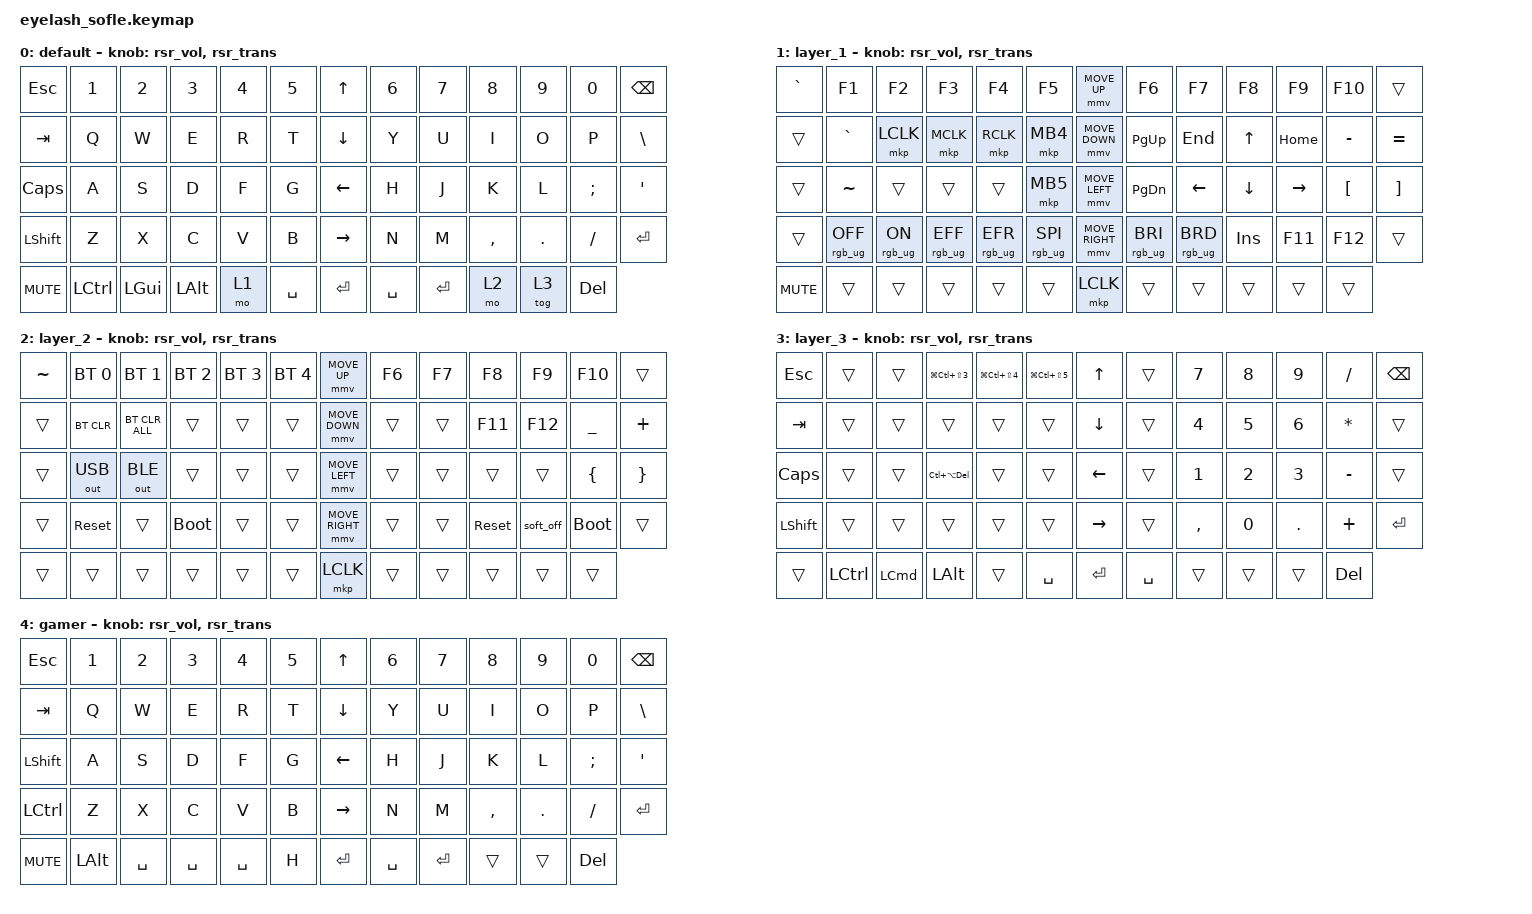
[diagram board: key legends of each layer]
#define ZMK_POINTING_DEFAULT_MOVE_VAL 1200  // 600
#define ZMK_POINTING_DEFAULT_SCRL_VAL 25   // 10

#include <input/processors.dtsi>
#include <zephyr/dt-bindings/input/input-event-codes.h>
#include <behaviors/runtime-sensor-rotate.dtsi>
#include <behaviors.dtsi>
#include <dt-bindings/zmk/bt.h>
#include <dt-bindings/zmk/keys.h>
#include <dt-bindings/zmk/outputs.h>
#include <dt-bindings/zmk/pointing.h>
#include <dt-bindings/zmk/rgb.h>

&mmv_input_listener { input-processors = <&zip_xy_scaler 2 1>; };

&msc_input_listener { input-processors = <&zip_scroll_scaler 2 1>; };

&msc {
    acceleration-exponent = <1>;      // 0
    time-to-max-speed-ms = <100>;       // 300
    delay-ms = <0>;                   // 0
};

&mmv {
    time-to-max-speed-ms = <500>;
    acceleration-exponent = <1>;
    trigger-period-ms = <16>;
};

&soft_off { hold-time-ms = <2000>; };

/ {
    scroll_encoder: scroll_encoder {
        compatible = "zmk,behavior-sensor-rotate";
        #sensor-binding-cells = <0>;
        bindings = <&msc SCRL_DOWN>, <&msc SCRL_UP>;

        tap-ms = <100>;
    };

    behaviors {
        rsr_vol: rsr_vol {
            compatible = "zmk,behavior-runtime-sensor-rotate";
            #sensor-binding-cells = <0>;
            tap-ms = <5>;
            cw-binding = <&kp C_VOL_UP>;
            ccw-binding = <&kp C_VOL_DN>;
        };

        rsr_trans: rsr_trans {
            compatible = "zmk,behavior-runtime-sensor-rotate";
            #sensor-binding-cells = <0>;
            tap-ms = <0>;
        };
    };

    combos {
        compatible = "zmk,combos";

        layer_4 {
            bindings = <&tog 4>;
            key-positions = <62 61>;
        };
    };

    macros {
        SHIFT_MCLK: SHIFT_MCLK {
            compatible = "zmk,behavior-macro";
            #binding-cells = <0>;
            bindings =
                <&macro_press>,
                <&kp LEFT_SHIFT>,
                <&macro_press>,
                <&mkp MB3>,
                <&macro_pause_for_release>,
                <&macro_release>,
                <&kp LEFT_SHIFT &mkp MB3>;

            label = "SHIFT_MCLK";
        };
    };

    keymap {
        compatible = "zmk,keymap";

        layer0 {
            bindings = <
&kp ESC     &kp N1     &kp N2        &kp N3        &kp N4  &kp N5       &kp UP_ARROW     &kp N6     &kp N7     &kp N8     &kp N9   &kp N0      &kp BACKSPACE
&kp TAB     &kp Q      &kp W         &kp E         &kp R   &kp T        &kp DOWN_ARROW   &kp Y      &kp U      &kp I      &kp O    &kp P       &kp BSLH
&kp CAPS    &kp A      &kp S         &kp D         &kp F   &kp G        &kp LEFT_ARROW   &kp H      &kp J      &kp K      &kp L    &kp SEMI    &kp APOS
&kp LSHFT   &kp Z      &kp X         &kp C         &kp V   &kp B        &kp RIGHT_ARROW  &kp N      &kp M      &kp COMMA  &kp DOT  &kp FSLH    &kp ENTER
&kp C_MUTE  &kp LCTRL  &kp LEFT_GUI  &kp LEFT_ALT  &mo 1   &kp SPACE    &kp ENTER        &kp SPACE  &kp ENTER  &mo 2      &tog 3   &kp DELETE
            >;

            sensor-bindings = <&rsr_vol &rsr_trans>;
            display-name = "default";
        };

        layer_1 {
            bindings = <
&kp GRAVE   &kp F1           &kp F2          &kp F3           &kp F4           &kp F5             &mmv MOVE_UP     &kp F6           &kp F7           &kp F8      &kp F9     &kp F10           &trans
&trans      &kp GRAVE        &mkp LCLK       &mkp MCLK        &mkp RCLK        &mkp MB4           &mmv MOVE_DOWN   &kp PG_UP        &kp END          &kp UP      &kp HOME   &kp MINUS         &kp EQUAL
&trans      &kp TILDE        &trans          &trans           &trans           &mkp MB5           &mmv MOVE_LEFT   &kp PG_DN        &kp LEFT         &kp DOWN    &kp RIGHT  &kp LEFT_BRACKET  &kp RIGHT_BRACKET
&trans      &rgb_ug RGB_OFF  &rgb_ug RGB_ON  &rgb_ug RGB_EFF  &rgb_ug RGB_EFR  &rgb_ug RGB_SPI    &mmv MOVE_RIGHT  &rgb_ug RGB_BRI  &rgb_ug RGB_BRD  &kp INSERT  &kp F11    &kp F12           &trans
&kp C_MUTE  &trans           &trans          &trans           &trans           &trans             &mkp LCLK        &trans           &trans           &trans      &trans     &trans
            >;

            sensor-bindings = <&rsr_vol &rsr_trans>;
            display-name = "layer_1";
        };

        layer_2 {
            bindings = <
&kp TILDE  &bt BT_SEL 0  &bt BT_SEL 1    &bt BT_SEL 2  &bt BT_SEL 3  &bt BT_SEL 4    &mmv MOVE_UP     &kp F6  &kp F7  &kp F8      &kp F9     &kp F10      &trans
&trans     &bt BT_CLR    &bt BT_CLR_ALL  &trans        &trans        &trans          &mmv MOVE_DOWN   &trans  &trans  &kp F11     &kp F12    &kp UNDER    &kp PLUS
&trans     &out OUT_USB  &out OUT_BLE    &trans        &trans        &trans          &mmv MOVE_LEFT   &trans  &trans  &trans      &trans     &kp LBRC     &kp RBRC
&trans     &sys_reset    &trans          &bootloader   &trans        &trans          &mmv MOVE_RIGHT  &trans  &trans  &sys_reset  &soft_off  &bootloader  &trans
&trans     &trans        &trans          &trans        &trans        &trans          &mkp LCLK        &trans  &trans  &trans      &trans     &trans
            >;

            display-name = "layer_2";
            sensor-bindings = <&rsr_vol &rsr_trans>;
        };

        layer_3 {
            bindings = <
&kp ESC         &trans            &trans            &kp LG(LC(LS(N3)))  &kp LG(LC(LS(NUMBER_4)))  &kp LG(LC(LS(N5)))    &kp UP_ARROW     &trans     &kp N7     &kp N8  &kp N9   &kp SLASH  &kp BACKSPACE
&kp TAB         &trans            &trans            &trans              &trans                    &trans                &kp DOWN_ARROW   &trans     &kp N4     &kp N5  &kp N6   &kp STAR   &trans
&kp CAPSLOCK    &trans            &trans            &kp LC(LA(DELETE))  &trans                    &trans                &kp LEFT_ARROW   &trans     &kp N1     &kp N2  &kp N3   &kp MINUS  &trans
&kp LEFT_SHIFT  &trans            &trans            &trans              &trans                    &trans                &kp RIGHT_ARROW  &trans     &kp COMMA  &kp N0  &kp DOT  &kp PLUS   &kp ENTER
&trans          &kp LEFT_CONTROL  &kp LEFT_COMMAND  &kp LALT            &trans                    &kp SPACE             &kp ENTER        &kp SPACE  &trans     &trans  &trans   &kp DEL
            >;

            display-name = "layer_3";
            sensor-bindings = <&rsr_vol &rsr_trans>;
        };

        gamer {
            display-name = "gamer";
            bindings = <
&kp ESC           &kp N1        &kp N2     &kp N3     &kp N4     &kp N5    &kp UP_ARROW     &kp N6     &kp N7     &kp N8     &kp N9   &kp N0      &kp BACKSPACE
&kp TAB           &kp Q         &kp W      &kp E      &kp R      &kp T     &kp DOWN_ARROW   &kp Y      &kp U      &kp I      &kp O    &kp P       &kp BSLH
&kp LEFT_SHIFT    &kp A         &kp S      &kp D      &kp F      &kp G     &kp LEFT_ARROW   &kp H      &kp J      &kp K      &kp L    &kp SEMI    &kp APOS
&kp LEFT_CONTROL  &kp Z         &kp X      &kp C      &kp V      &kp B     &kp RIGHT_ARROW  &kp N      &kp M      &kp COMMA  &kp DOT  &kp FSLH    &kp ENTER
&kp C_MUTE        &kp LEFT_ALT  &kp SPACE  &kp SPACE  &kp SPACE  &kp H     &kp ENTER        &kp SPACE  &kp ENTER  &trans     &trans   &kp DELETE
            >;

            sensor-bindings = <&rsr_vol>, <&rsr_trans>;
        };
    };
};
